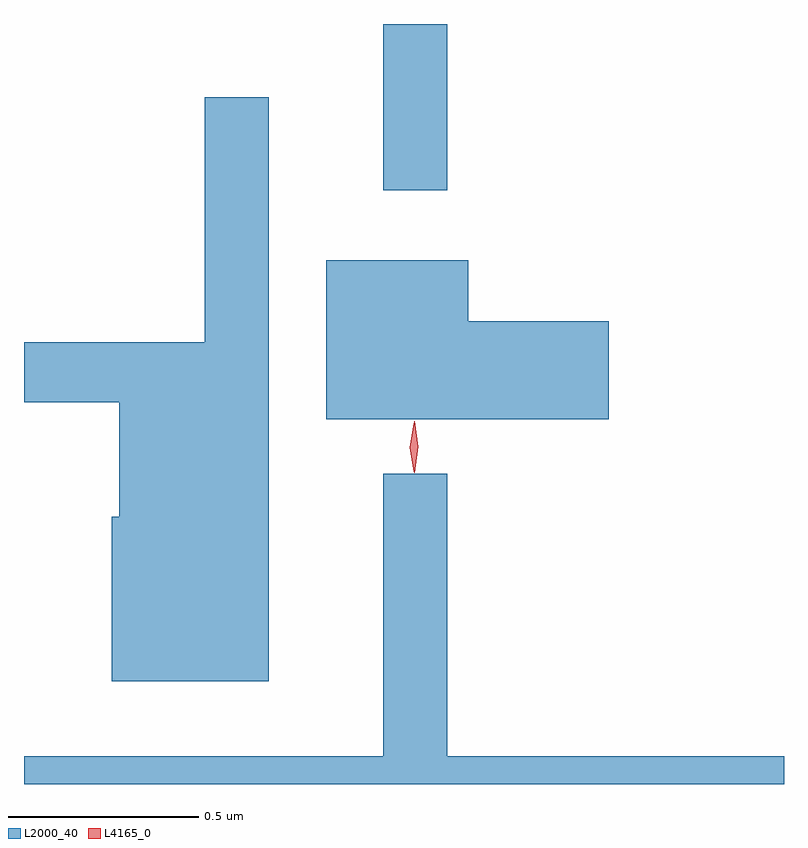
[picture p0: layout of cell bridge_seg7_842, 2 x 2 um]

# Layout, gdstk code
import gdstk
lib = gdstk.Library(unit=1e-6, precision=1e-09)
def R(c, l, rs):  # rectangles x0, y0, x1, y1
    for r in rs: c.add(gdstk.rectangle(r[:2], r[2:], *l))
def P(c, l, *ps):  # polygons
    for p in ps: c.add(gdstk.Polygon(p, *l))
L2000_40 = (2000, 40)
L4165_0 = (4165, 0)

bridge_seg7_842 = lib.new_cell('bridge_seg7_842')
R(bridge_seg7_842, L2000_40, [(278.541,1747.153,278.709,1747.591)])
P(bridge_seg7_842, L2000_40, [(278.239,1747.398),(278.071,1747.398),(278.071,1746.754),(277.595,1746.754),(277.595,1746.596),(277.846,1746.596),(277.846,1746.294),(277.826,1746.294),(277.826,1745.861),(278.239,1745.861)],
  [(279.134,1746.809),(278.764,1746.809),(278.764,1746.969),(278.391,1746.969),(278.391,1746.551),(279.134,1746.551)],
  [(279.595,1745.664),(278.709,1745.664),(278.709,1746.408),(278.541,1746.408),(278.541,1745.664),(277.595,1745.664),(277.595,1745.591),(279.595,1745.591)])
P(bridge_seg7_842, L4165_0, [(278.622,1746.41),(278.613,1746.478),(278.622,1746.545),(278.622,1746.546),(278.623,1746.545),(278.632,1746.478),(278.623,1746.41),(278.623,1746.41)],
  [(278.621,1746.413),(278.62,1746.414),(278.61,1746.476),(278.62,1746.54),(278.62,1746.54),(278.621,1746.54),(278.63,1746.476),(278.621,1746.414)])

lib.write_gds('bridge_seg7_842.gds')
